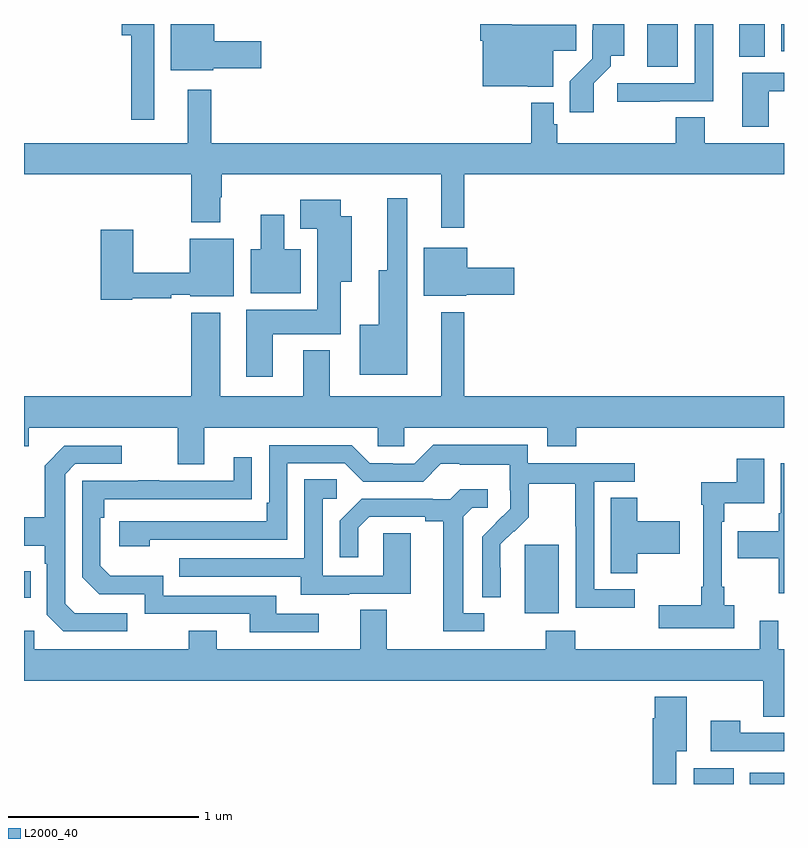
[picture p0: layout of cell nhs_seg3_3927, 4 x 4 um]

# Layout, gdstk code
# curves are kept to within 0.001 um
import gdstk
lib = gdstk.Library(unit=1e-6, precision=1e-09)
def R(c, l, rs):  # rectangles x0, y0, x1, y1
    for r in rs: c.add(gdstk.rectangle(r[:2], r[2:], *l))
def P(c, l, *ps):  # polygons
    for p in ps: c.add(gdstk.Polygon(p, *l))
L2000_40 = (2000, 40)

nhs_seg3_3927 = lib.new_cell('nhs_seg3_3927')
R(nhs_seg3_3927, L2000_40, [(318.524,672.4,318.736,672.484), (318.821,672.4,319,672.46), (317.636,673.298,317.815,673.659), (315,673.379,315.035,673.519), (318.281,676.176,318.442,676.4), (318.764,676.228,318.898,676.4), (318.986,676.256,319,676.4)])
P(nhs_seg3_3927, L2000_40, [(315.996,676.168),(316.249,676.168),(316.249,676.31),(316,676.31),(316,676.4),(315.773,676.4),(315.773,676.157),(315.996,676.157)],
  [(317.998,676.087),(318.088,676.177),(318.088,676.232),(318.16,676.232),(318.16,676.4),(317.993,676.4),(317.993,676.368),(317.991,676.368),(317.991,676.217),(317.872,676.098),(317.872,675.936),(317.998,675.936)],
  [(317.785,676.258),(317.906,676.258),(317.906,676.396),(317.568,676.396),(317.568,676.4),(317.402,676.4),(317.402,676.313),(317.414,676.313),(317.414,676.073),(317.652,676.073),(317.652,676.07),(317.785,676.07)],
  [(318.347,675.993),(318.628,675.993),(318.628,676.4),(318.531,676.4),(318.531,676.089),(318.123,676.089),(318.123,675.991),(318.347,675.991)],
  [(315.685,676.4),(315.515,676.4),(315.515,676.34),(315.564,676.34),(315.564,675.897),(315.685,675.897)],
  [(318.919,676.047),(319,676.047),(319,676.143),(318.779,676.143),(318.779,675.858),(318.919,675.858)],
  [(317.317,675.608),(319,675.608),(319,675.772),(318.583,675.772),(318.583,675.908),(318.431,675.908),(318.431,675.772),(317.807,675.772),(317.807,675.873),(317.787,675.873),(317.787,675.985),(317.671,675.985),(317.671,675.772),(315.985,675.772),(315.985,676.054),(315.863,676.054),(315.863,675.772),(315,675.772),(315,675.608),(315.881,675.608),(315.881,675.356),(316.033,675.356),(316.033,675.488),(316.041,675.488),(316.041,675.608),(317.195,675.608),(317.195,675.327),(317.317,675.327)],
  [(317.017,675.484),(316.913,675.484),(316.913,675.103),(316.868,675.103),(316.868,674.818),(316.766,674.818),(316.766,674.555),(317.017,674.555)],
  [(316.309,674.768),(316.666,674.768),(316.666,675.044),(316.726,675.044),(316.726,675.388),(316.666,675.388),(316.666,675.475),(316.454,675.475),(316.454,675.323),(316.544,675.323),(316.544,674.896),(316.169,674.896),(316.169,674.544),(316.309,674.544)],
  [(316.456,675.214),(316.369,675.214),(316.369,675.397),(316.247,675.397),(316.247,675.214),(316.193,675.214),(316.193,674.984),(316.456,674.984)],
  [(315.57,674.956),(315.776,674.956),(315.776,674.976),(315.876,674.976),(315.876,674.966),(316.105,674.966),(316.105,675.271),(315.872,675.271),(315.872,675.092),(315.574,675.092),(315.574,675.316),(315.404,675.316),(315.404,674.948),(315.57,674.948)],
  [(317.328,674.975),(317.581,674.975),(317.581,675.117),(317.332,675.117),(317.332,675.223),(317.105,675.223),(317.105,674.969),(317.328,674.969)],
  [(315.949,674.276),(316.863,674.276),(316.863,674.178),(317.001,674.178),(317.001,674.276),(317.753,674.276),(317.753,674.177),(317.906,674.177),(317.906,674.276),(319,674.276),(319,674.44),(317.317,674.44),(317.317,674.884),(317.195,674.884),(317.195,674.44),(316.609,674.44),(316.609,674.683),(316.469,674.683),(316.469,674.44),(316.033,674.44),(316.033,674.881),(315.881,674.881),(315.881,674.44),(315,674.44),(315,674.177),(315.025,674.177),(315.025,674.276),(315.809,674.276),(315.809,674.082),(315.949,674.082)],
  [(318.214,673.425),(318,673.425),(318,673.992),(318.214,673.992),(318.214,674.088),(317.652,674.088),(317.652,674.185),(317.155,674.185),(317.055,674.085),(316.94,674.085),(316.94,674.088),(316.821,674.088),(316.725,674.184),(316.29,674.184),(316.29,673.879),(316.277,673.879),(316.277,673.782),(315.501,673.782),(315.501,673.652),(315.662,673.652),(315.662,673.686),(316.386,673.686),(316.386,674.088),(316.689,674.088),(316.785,673.992),(317.1,673.992),(317.193,674.085),(317.293,674.085),(317.293,674.081),(317.556,674.081),(317.556,673.947),(317.558,673.947),(317.558,673.85),(317.412,673.702),(317.412,673.384),(317.508,673.384),(317.507,673.661),(317.577,673.731),(317.58,673.728),(317.657,673.805),(317.657,673.98),(317.902,673.98),(317.902,673.756),(317.904,673.756),(317.904,673.327),(318.214,673.327)],
  [(315.544,673.299),(315.267,673.299),(315.216,673.35),(315.216,674.031),(315.27,674.085),(315.514,674.085),(315.514,674.181),(315.213,674.181),(315.108,674.075),(315.108,673.803),(315,673.803),(315,673.655),(315.108,673.655),(315.108,673.559),(315.12,673.559),(315.12,673.29),(315.207,673.203),(315.544,673.203)],
  [(316.552,673.296),(316.327,673.296),(316.327,673.392),(315.732,673.392),(315.732,673.495),(315.455,673.495),(315.402,673.548),(315.402,673.802),(315.422,673.802),(315.422,673.899),(316.199,673.9),(316.199,674.119),(316.103,674.119),(316.103,673.995),(315.713,673.995),(315.713,674),(315.601,674),(315.601,673.995),(315.306,673.995),(315.306,673.488),(315.396,673.398),(315.636,673.398),(315.636,673.296),(316.187,673.296),(316.187,673.2),(316.552,673.2)],
  [(318.739,673.342),(318.685,673.342),(318.685,673.438),(318.672,673.438),(318.672,673.781),(318.685,673.781),(318.685,673.877),(318.895,673.877),(318.895,674.113),(318.752,674.113),(318.752,673.987),(318.564,673.987),(318.564,673.871),(318.576,673.871),(318.576,673.438),(318.564,673.438),(318.564,673.342),(318.342,673.342),(318.342,673.22),(318.739,673.22)],
  [(319,674.088),(318.984,674.088),(318.984,673.825),(318.972,673.825),(318.972,673.729),(318.757,673.729),(318.757,673.589),(318.972,673.589),(318.972,673.403),(319,673.403)],
  [(316.711,673.401),(317.035,673.401),(317.035,673.721),(316.89,673.721),(316.89,673.497),(316.572,673.497),(316.572,673.902),(316.645,673.902),(316.645,674.003),(316.476,674.003),(316.476,673.587),(315.817,673.587),(315.817,673.491),(316.457,673.491),(316.457,673.397),(316.711,673.397)],
  [(317.422,673.299),(317.311,673.299),(317.311,673.807),(317.358,673.854),(317.44,673.854),(317.44,673.951),(317.296,673.951),(317.244,673.899),(317.15,673.899),(317.15,673.902),(316.778,673.902),(316.662,673.786),(316.662,673.593),(316.759,673.593),(316.759,673.749),(316.816,673.806),(317.111,673.806),(317.111,673.784),(317.207,673.784),(317.207,673.203),(317.422,673.203)],
  [(318.228,673.613),(318.451,673.613),(318.451,673.784),(318.228,673.784),(318.228,673.907),(318.089,673.907),(318.089,673.51),(318.228,673.51)],
  [(319,673.108),(318.969,673.108),(318.969,673.258),(318.872,673.258),(318.872,673.108),(317.901,673.108),(317.901,673.207),(317.746,673.207),(317.746,673.108),(316.909,673.108),(316.909,673.316),(316.769,673.316),(316.769,673.108),(316.015,673.108),(316.015,673.207),(315.868,673.207),(315.868,673.108),(315.054,673.108),(315.054,673.207),(315,673.207),(315,672.944),(318.892,672.944),(318.892,672.754),(319,672.754)],
  [(318.433,672.572),(318.487,672.572),(318.487,672.859),(318.32,672.859),(318.32,672.746),(318.308,672.746),(318.308,672.4),(318.433,672.4)],
  [(319,672.669),(318.771,672.669),(318.771,672.733),(318.615,672.733),(318.615,672.573),(319,672.573)])

lib.write_gds('nhs_seg3_3927.gds')
